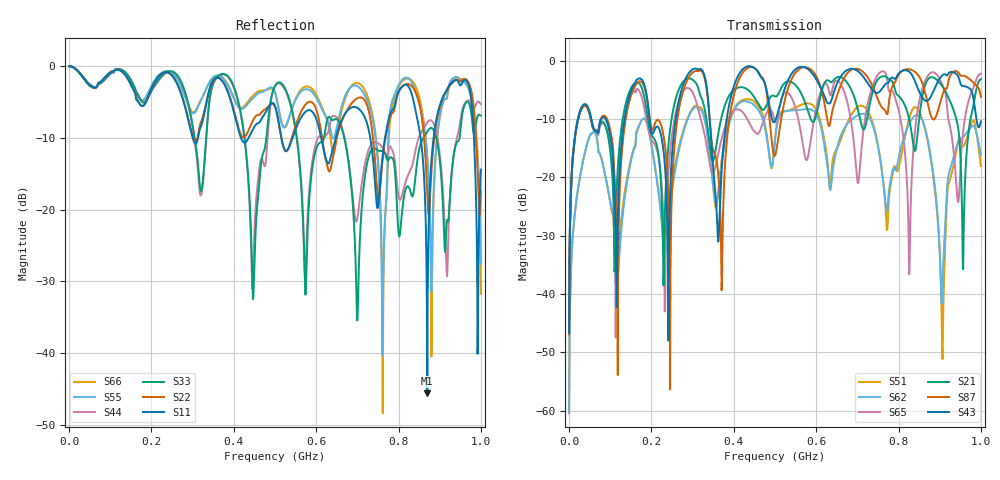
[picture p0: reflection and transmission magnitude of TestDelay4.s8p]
!Agilent Technologies,M9370A,MY54322275,A.02.50.04
!Agilent M9370A: A.02.50.04
!Date: Tuesday, April 03, 2018 09:18:10
!Correction: S11(Full 8 Port(1,2,3,4,5,6,7,8))
!S12(Full 8 Port(1,2,3,4,5,6,7,8))
!S13(Full 8 Port(1,2,3,4,5,6,7,8))
!S14(Full 8 Port(1,2,3,4,5,6,7,8))
!S15(Full 8 Port(1,2,3,4,5,6,7,8))
!S16(Full 8 Port(1,2,3,4,5,6,7,8))
!S17(Full 8 Port(1,2,3,4,5,6,7,8))
!S18(Full 8 Port(1,2,3,4,5,6,7,8))
!S21(Full 8 Port(1,2,3,4,5,6,7,8))
!S22(Full 8 Port(1,2,3,4,5,6,7,8))
!S23(Full 8 Port(1,2,3,4,5,6,7,8))
!S24(Full 8 Port(1,2,3,4,5,6,7,8))
!S25(Full 8 Port(1,2,3,4,5,6,7,8))
!S26(Full 8 Port(1,2,3,4,5,6,7,8))
!S27(Full 8 Port(1,2,3,4,5,6,7,8))
!S28(Full 8 Port(1,2,3,4,5,6,7,8))
!S31(Full 8 Port(1,2,3,4,5,6,7,8))
!S32(Full 8 Port(1,2,3,4,5,6,7,8))
!S33(Full 8 Port(1,2,3,4,5,6,7,8))
!S34(Full 8 Port(1,2,3,4,5,6,7,8))
!S35(Full 8 Port(1,2,3,4,5,6,7,8))
!S36(Full 8 Port(1,2,3,4,5,6,7,8))
!S37(Full 8 Port(1,2,3,4,5,6,7,8))
!S38(Full 8 Port(1,2,3,4,5,6,7,8))
!S41(Full 8 Port(1,2,3,4,5,6,7,8))
!S42(Full 8 Port(1,2,3,4,5,6,7,8))
!S43(Full 8 Port(1,2,3,4,5,6,7,8))
!S44(Full 8 Port(1,2,3,4,5,6,7,8))
!S45(Full 8 Port(1,2,3,4,5,6,7,8))
!S46(Full 8 Port(1,2,3,4,5,6,7,8))
!S47(Full 8 Port(1,2,3,4,5,6,7,8))
!S48(Full 8 Port(1,2,3,4,5,6,7,8))
!S51(Full 8 Port(1,2,3,4,5,6,7,8))
!S52(Full 8 Port(1,2,3,4,5,6,7,8))
!S53(Full 8 Port(1,2,3,4,5,6,7,8))
!S54(Full 8 Port(1,2,3,4,5,6,7,8))
!S55(Full 8 Port(1,2,3,4,5,6,7,8))
!S56(Full 8 Port(1,2,3,4,5,6,7,8))
!S57(Full 8 Port(1,2,3,4,5,6,7,8))
!S58(Full 8 Port(1,2,3,4,5,6,7,8))
!S61(Full 8 Port(1,2,3,4,5,6,7,8))
!S62(Full 8 Port(1,2,3,4,5,6,7,8))
!S63(Full 8 Port(1,2,3,4,5,6,7,8))
!S64(Full 8 Port(1,2,3,4,5,6,7,8))
!S65(Full 8 Port(1,2,3,4,5,6,7,8))
!S66(Full 8 Port(1,2,3,4,5,6,7,8))
!S67(Full 8 Port(1,2,3,4,5,6,7,8))
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# Hz S  RI  R 50
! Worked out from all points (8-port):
!   1000 points, 300 kHz to 1 GHz, reference 50 ohm
!   strongest paths, dB at 300 kHz, 250.5 MHz, 500.7 MHz, 750.8 MHz, 1 GHz:
!     S43: -46.7, -15.8, -10.3, -5.5, -10.4
!     S87: -46.9, -21.3, -16.2, -6.8, -6.2
!     S21: -46.6, -9.4, -6.1, -3.1, -3.1
!     S65: -47.1, -12.5, -10.5, -2.3, -2.2
!     S62: -60.4, -22.2, -13.4, -15.0, -16.1
!     S51: -60.5, -21.1, -13.0, -14.8, -18.1
!   lowest |S11| = -45.6 dB at 869.9 MHz (marker M1), VSWR 1.01, Z = 49.5 + j0.118 ohm
!   |S11| at or under -10 dB: 612.3 MHz to 647.6 MHz (35.31 MHz wide, 5.6 % of centre); 731.5 MHz to 767.2 MHz (35.76 MHz wide, 4.77 % of centre); 853.7 MHz to 885.1 MHz (31.33 MHz wide, 3.6 % of centre)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
